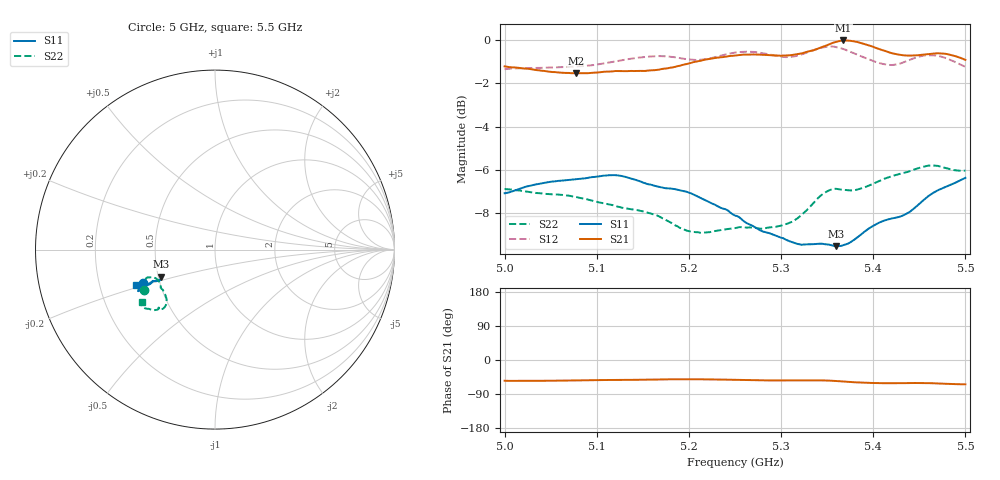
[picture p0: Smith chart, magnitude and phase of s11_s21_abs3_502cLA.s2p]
! MS46122B
! 1919307/90821646
! 5/25/2022 1:17:11 PM
! C:\USERS\PC_\DESKTOP\CARACTERIZACION\MEDICIONES\BANCHA ESTRECHA\5_55GHZ\S11_S21_ABS3_502CL.S2P
! CHANNEL.1
! TR.MEASUREMENT
! CORRECTED.DATA
# GHZ S RI R 50.0
! FREQ.GHZ  S11RE  S11IM  S21RE  S21IM  S12RE  S12IM  S22RE  S22IM
!; PortSelection: Port_12
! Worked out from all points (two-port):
!   201 points, 5 GHz to 5.5 GHz, reference 50 ohm
!   highest |S21| = -0.02 dB at 5.367 GHz (marker M1); lowest = -1.5 dB at 5.077 GHz (marker M2)
!   |S21| within 3 dB of the highest: start of sweep to end of sweep
!   lowest |S11| = -9.5 dB at 5.36 GHz (marker M3), VSWR 2.00, Z = 26 - j8.83 ohm
!   |S11| at or under -10 dB: nowhere
!   |S22| runs from -8.9 to -5.8 dB; largest |S21 - S12| = 0.071
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5  -0.4031 -0.1834  0.5019 -0.7104  0.5354 -0.669  -0.3936 -0.2245
5.025  -0.41 -0.208  0.4935 -0.7028  0.5414 -0.6709  -0.393 -0.2121
5.0775  -0.4247 -0.2179  0.4966 -0.6751  0.5492 -0.6733  -0.3911 -0.1887
5.085  -0.4254 -0.2202  0.4997 -0.6734  0.5516 -0.6742  -0.3905 -0.1817
5.1225  -0.4286 -0.2316  0.515 -0.6741  0.5694 -0.6903  -0.3812 -0.1579
5.1675  -0.3975 -0.228  0.5322 -0.6686  0.5611 -0.7272  -0.36 -0.1549
5.1975  -0.3911 -0.2153  0.5589 -0.6799  0.5402 -0.7246  -0.3243 -0.1637
5.22  -0.3772 -0.1951  0.5668 -0.7032  0.5513 -0.7179  -0.3072 -0.1874
5.25  -0.3503 -0.1792  0.5622 -0.7296  0.5598 -0.7502  -0.3019 -0.2104
5.2725  -0.3255 -0.1737  0.5501 -0.7449  0.5365 -0.7698  -0.295 -0.2207
5.2975  -0.3077 -0.1701  0.5419 -0.7445  0.517 -0.7579  -0.2795 -0.2455
5.315  -0.299 -0.1618  0.548 -0.7467  0.5276 -0.751  -0.2701 -0.2729
5.335  -0.2976 -0.16  0.5622 -0.7624  0.5426 -0.7768  -0.2771 -0.3158
5.3475  -0.3007 -0.1539  0.5694 -0.7841  0.5339 -0.802  -0.2962 -0.3312
5.36  -0.2984 -0.1509  0.5621 -0.8163  0.5046 -0.8204  -0.3131 -0.3281
5.3675  -0.2975 -0.1565  0.5466 -0.8351  0.485 -0.821  -0.3146 -0.3234
5.39  -0.3161 -0.1732  0.4909 -0.848  0.4465 -0.7951  -0.315 -0.3305
5.4175  -0.3449 -0.1739  0.4484 -0.8222  0.4494 -0.7522  -0.3468 -0.3358
5.43  -0.3492 -0.1777  0.4452 -0.8096  0.4688 -0.7492  -0.3627 -0.3324
5.45  -0.3701 -0.196  0.4526 -0.805  0.4824 -0.7787  -0.387 -0.3274
5.4725  -0.4065 -0.1985  0.4357 -0.8235  0.4418 -0.8039  -0.4097 -0.3052
5.5  -0.4374 -0.1997  0.3921 -0.8105  0.3997 -0.7702  -0.4049 -0.2929
